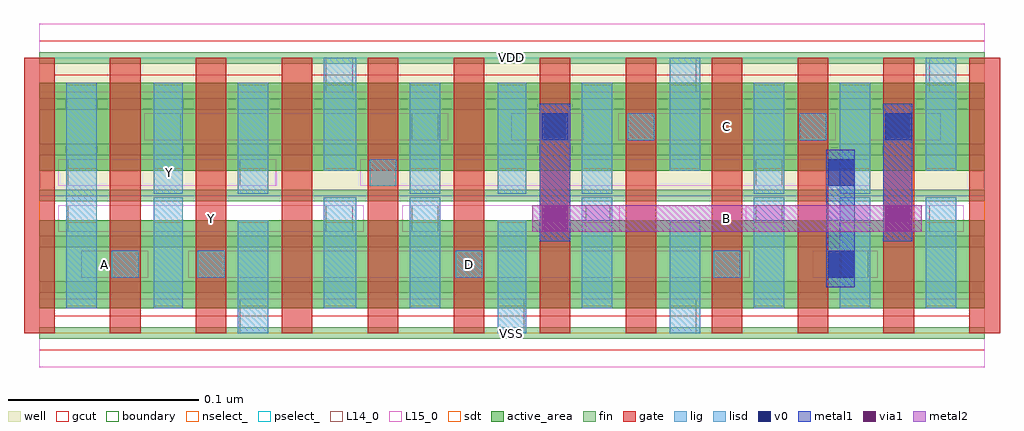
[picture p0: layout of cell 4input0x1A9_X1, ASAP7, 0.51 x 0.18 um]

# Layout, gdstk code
import gdstk
lib = gdstk.Library(unit=1e-6, precision=1e-09)
def R(c, l, rs):  # rectangles x0, y0, x1, y1
    for r in rs: c.add(gdstk.rectangle(r[:2], r[2:], *l))
def A(c, l, x, y, w, h, nx, ny, dx, dy):  # array of equal rectangles
    R(c, l, [(x+i*dx, y+j*dy, x+i*dx+w, y+j*dy+h) for i in range(nx) for j in range(ny)])
def P(c, l, *ps):  # polygons
    for p in ps: c.add(gdstk.Polygon(p, *l))
well = (1, 0)
fin = (2, 0)
gate = (7, 0)
gcut = (10, 0)
active_area = (11, 0)
nselect_ = (12, 0)
pselect_ = (13, 0)
L14_0 = (14, 0)
L15_0 = (15, 0)
lig = (16, 0)
lisd = (17, 0)
v0 = (18, 0)
metal1 = (19, 0)
metal2 = (20, 0)
via1 = (21, 0)
sdt = (88, 0)
boundary = (100, 0)

c_4input0x1a9_x1 = lib.new_cell('4input0x1A9_X1')
R(c_4input0x1a9_x1, well, [(0,0.072,0.495,0.144)])
A(c_4input0x1a9_x1, fin, 0, -0.003, 0.495, 0.006, 1, 7, 0, 0.024)
A(c_4input0x1a9_x1, gate, -0.008, 0, 0.016, 0.144, 12, 1, 0.045, 0)
P(c_4input0x1a9_x1, gcut, [(0,-0.009),(0,0),(-0.008,0),(-0.008,0.135),(0.008,0.135),(0.008,0.009),(0.127,0.009),(0.127,0.135),(0.143,0.135),(0.143,0.009),(0.487,0.009),(0.487,0.135),(-0.008,0.135),(-0.008,0.144),(0,0.144),(0,0.153),(0.495,0.153),(0.495,0.144),(0.503,0.144),(0.503,0),(0.495,0),(0.495,-0.009)])
R(c_4input0x1a9_x1, active_area, [(0,0.013,0.495,0.059), (0,0.085,0.495,0.131)])
R(c_4input0x1a9_x1, nselect_, [(0,0,0.495,0.072)])
R(c_4input0x1a9_x1, pselect_, [(0,0.072,0.495,0.144)])
A(c_4input0x1a9_x1, L14_0, 0.083, 0.029, 0.014, 0.014, 3, 1, 0.135, 0)
R(c_4input0x1a9_x1, L14_0, [(0.105,0,0.12,0.018), (0.24,0,0.254,0.018), (0.33,0,0.344,0.018), (0.038,0.029,0.052,0.043), (0.42,0.029,0.434,0.043), (0.015,0.053,0.03,0.067), (0.15,0.053,0.164,0.067), (0.195,0.053,0.209,0.067), (0.286,0.053,0.299,0.067), (0.375,0.053,0.389,0.067), (0.466,0.053,0.48,0.067), (0.015,0.077,0.03,0.091), (0.105,0.077,0.12,0.091), (0.173,0.077,0.187,0.091), (0.375,0.077,0.389,0.091), (0.06,0.101,0.074,0.115), (0.195,0.101,0.209,0.115), (0.263,0.101,0.277,0.115), (0.308,0.101,0.322,0.115), (0.398,0.101,0.412,0.115), (0.443,0.101,0.457,0.115), (0.15,0.126,0.164,0.144), (0.33,0.126,0.344,0.144), (0.466,0.126,0.48,0.144)])
R(c_4input0x1a9_x1, L15_0, [(0,-0.018,0.495,0.018), (0.022,0.029,0.057,0.043), (0.078,0.029,0.372,0.043), (0.405,0.029,0.439,0.043), (0.01,0.053,0.17,0.067), (0.19,0.053,0.304,0.067), (0.37,0.053,0.484,0.067), (0.01,0.077,0.124,0.091), (0.168,0.077,0.435,0.091), (0.055,0.101,0.214,0.115), (0.247,0.101,0.285,0.115), (0.303,0.101,0.417,0.115), (0.435,0.101,0.472,0.115), (0,0.126,0.495,0.162)])
A(c_4input0x1a9_x1, lig, 0.083, 0.029, 0.014, 0.014, 3, 1, 0.135, 0)
R(c_4input0x1a9_x1, lig, [(0.038,0.029,0.052,0.043), (0.173,0.077,0.187,0.091), (0.263,0.101,0.277,0.115), (0.308,0.101,0.322,0.115), (0.398,0.101,0.412,0.115), (0.443,0.101,0.457,0.115)])
A(c_4input0x1a9_x1, lisd, 0.194, 0.013, 0.016, 0.058, 3, 1, 0.09, 0)
A(c_4input0x1a9_x1, lisd, 0.104, 0.073, 0.016, 0.058, 4, 1, 0.09, 0)
R(c_4input0x1a9_x1, lisd, [(0.104,0,0.12,0.059), (0.24,0,0.255,0.059), (0.33,0,0.346,0.059), (0.014,0.013,0.03,0.131), (0.06,0.013,0.075,0.071), (0.149,0.013,0.166,0.071), (0.419,0.013,0.435,0.071), (0.464,0.013,0.48,0.071), (0.06,0.073,0.075,0.131), (0.24,0.073,0.255,0.131), (0.419,0.073,0.435,0.131), (0.149,0.085,0.166,0.144), (0.33,0.085,0.346,0.144), (0.464,0.085,0.48,0.144)])
R(c_4input0x1a9_x1, v0, [(0.413,0.029,0.427,0.043), (0.413,0.077,0.427,0.091), (0.263,0.101,0.277,0.115), (0.443,0.101,0.457,0.115)])
R(c_4input0x1a9_x1, metal1, [(0.412,0.024,0.427,0.096), (0.262,0.048,0.278,0.12), (0.442,0.048,0.457,0.12)])
R(c_4input0x1a9_x1, metal2, [(0.258,0.053,0.462,0.067)])
R(c_4input0x1a9_x1, via1, [(0.263,0.053,0.277,0.067), (0.443,0.053,0.457,0.067)])
A(c_4input0x1a9_x1, sdt, 0.014, 0.014, 0.016, 0.044, 4, 2, 0.09, 0.072)
A(c_4input0x1a9_x1, sdt, 0.374, 0.014, 0.016, 0.044, 3, 2, 0.045, 0.072)
R(c_4input0x1a9_x1, sdt, [(0.06,0.014,0.075,0.058), (0.149,0.014,0.166,0.058), (0.24,0.014,0.255,0.058), (0.33,0.014,0.346,0.058), (0.06,0.086,0.075,0.13), (0.149,0.086,0.166,0.13), (0.24,0.086,0.255,0.13), (0.33,0.086,0.346,0.13)])
R(c_4input0x1a9_x1, boundary, [(0,0,0.495,0.144)])
c_4input0x1a9_x1.add(gdstk.Label('D', (0.225,0.036), layer=15, texttype=251))
c_4input0x1a9_x1.add(gdstk.Label('VSS', (0.247,0), layer=15, texttype=251))
c_4input0x1a9_x1.add(gdstk.Label('VDD', (0.247,0.144), layer=15, texttype=251))
c_4input0x1a9_x1.add(gdstk.Label('Y', (0.068,0.084), layer=15, texttype=251))
c_4input0x1a9_x1.add(gdstk.Label('Y', (0.09,0.06), layer=15, texttype=251))
c_4input0x1a9_x1.add(gdstk.Label('VSS', (0.247,0), layer=15, texttype=251))
c_4input0x1a9_x1.add(gdstk.Label('VDD', (0.247,0.144), layer=15, texttype=251))
c_4input0x1a9_x1.add(gdstk.Label('VSS', (0.247,0), layer=15, texttype=251))
c_4input0x1a9_x1.add(gdstk.Label('VDD', (0.247,0.144), layer=15, texttype=251))
c_4input0x1a9_x1.add(gdstk.Label('C', (0.36,0.108), layer=15, texttype=251))
c_4input0x1a9_x1.add(gdstk.Label('VSS', (0.247,0), layer=15, texttype=251))
c_4input0x1a9_x1.add(gdstk.Label('VDD', (0.247,0.144), layer=15, texttype=251))
c_4input0x1a9_x1.add(gdstk.Label('A', (0.034,0.036), layer=15, texttype=251))
c_4input0x1a9_x1.add(gdstk.Label('VSS', (0.247,0), layer=15, texttype=251))
c_4input0x1a9_x1.add(gdstk.Label('VDD', (0.247,0.144), layer=15, texttype=251))
c_4input0x1a9_x1.add(gdstk.Label('VSS', (0.247,0), layer=3, texttype=251))
c_4input0x1a9_x1.add(gdstk.Label('VSS', (0.247,0), layer=3, texttype=251))
c_4input0x1a9_x1.add(gdstk.Label('VSS', (0.247,0), layer=3, texttype=251))
c_4input0x1a9_x1.add(gdstk.Label('VSS', (0.247,0), layer=3, texttype=251))
c_4input0x1a9_x1.add(gdstk.Label('VSS', (0.247,0), layer=3, texttype=251))
c_4input0x1a9_x1.add(gdstk.Label('VDD', (0.247,0.144), layer=1, texttype=251))
c_4input0x1a9_x1.add(gdstk.Label('VDD', (0.247,0.144), layer=1, texttype=251))
c_4input0x1a9_x1.add(gdstk.Label('VDD', (0.247,0.144), layer=1, texttype=251))
c_4input0x1a9_x1.add(gdstk.Label('VDD', (0.247,0.144), layer=1, texttype=251))
c_4input0x1a9_x1.add(gdstk.Label('VDD', (0.247,0.144), layer=1, texttype=251))
c_4input0x1a9_x1.add(gdstk.Label('B', (0.36,0.06), layer=20, texttype=251))

lib.write_gds('4input0x1A9_X1.gds')
